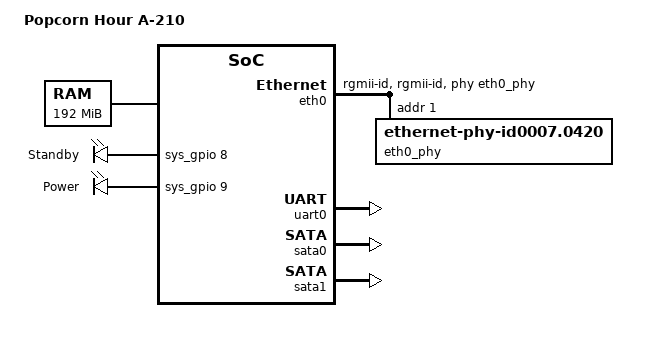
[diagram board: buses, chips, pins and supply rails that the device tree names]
/dts-v1/;

#include "smp8640.dtsi"
#include "smp8640-cpu.dtsi"

/ {
	compatible = "syabas,pch-a210", "sigma,smp8640-soc";
	model = "Popcorn Hour A-210";

	aliases {
		serial0 = &uart0;
		ethernet0 = &eth0;
		eth0 = &eth0;
	};

	chosen {
		bootargs = "console=ttyS0,115200 earlycon init=/init ip=192.168.1.4::192.168.1.1:255.255.255.0:pch:eth0:off";
	};

	memory@4000000 {
		device_type = "memory";
		reg = <0x04000000 0x0c000000>;
	};

	leds {
		compatible = "gpio-leds";

		standby {
			label = "Standby";
			gpios = <&sys_gpio 8 0>;
			default-state = "on";
		};

		power {
			label = "Power";
			gpios = <&sys_gpio 9 0>;
		};
	};
};

&eth0 {
	mac-address = [ 00 06 dc 81 4f a3 ];
	local-mac-address = [ 00 06 dc 81 4f a3 ];
	phy-mode = "rgmii-id";
	phy-connection-type = "rgmii-id";
	phy-handle = <&eth0_phy>;

	eth0_phy: ethernet-phy@1 {
		compatible = "ethernet-phy-id0007.0420",
			     "ethernet-phy-id0007.0421",
			     "ethernet-phy-ieee802.3-c22";
		reg = <1>;
	};
};

&eth1 {
	status = "disabled";
};

&uart0 {
	status = "okay";
	clock-frequency = <1843200>;
};

&uart1 {
	status = "disabled";
};

&sata0 {
	status = "okay";
};

&sata1 {
	status = "okay";
};
